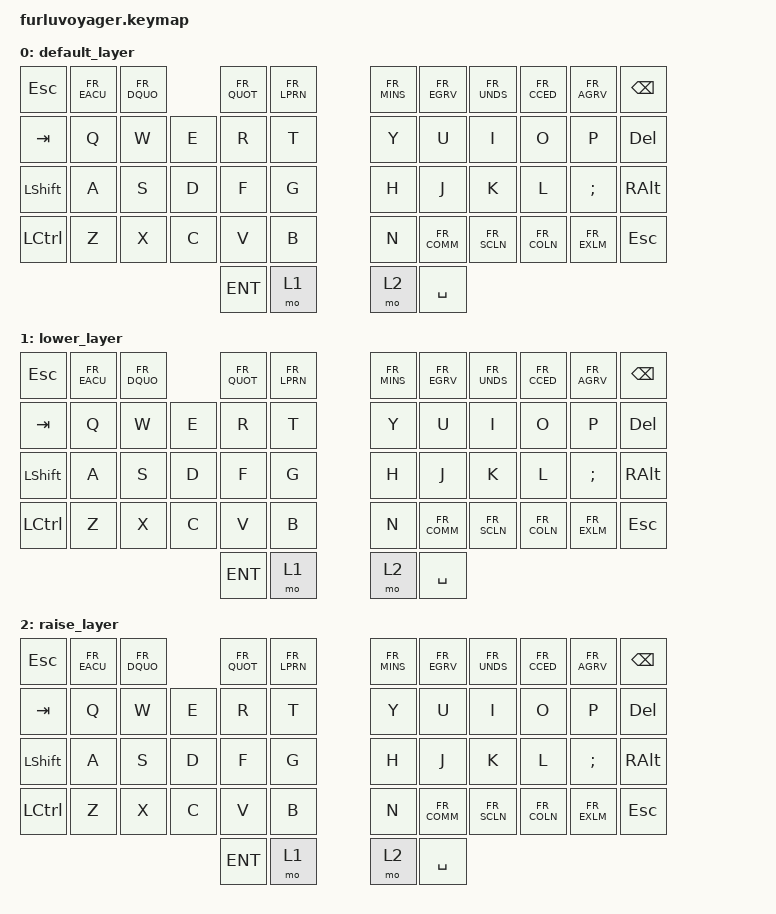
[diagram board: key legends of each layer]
/*
 * Copyright (c) 2020 The ZMK Contributors
 *
 * SPDX-License-Identifier: MIT
 */

#include <behaviors.dtsi>
#include <dt-bindings/zmk/keys.h>
#include <dt-bindings/zmk/bt.h>
#include "keymap_french.h"

/ {
        combos {
                compatible = "zmk,combos";
        };
        keymap {
                compatible = "zmk,keymap";

                default_layer {
// -----------------------------------------------------------------------------------------
// |  TAB |  Q  |  W  |  E  |  R  |  T  |   |  Y  |  U   |  I  |  O  |  P  | BSPC |
// | CTRL |  A  |  S  |  D  |  F  |  G  |   |  H  |  J   |  K  |  L  |  ;  |  '   |
// | SHFT |  Z  |  X  |  C  |  V  |  B  |   |  N  |  M   |  ,  |  .  |  /  | ESC  |
//                    | GUI | LWR | SPC |   | ENT | RSE  | ALT |
                        bindings = <
   &kp ESC  &kp FR_EACU         &kp FR_DQUO     &kp FR_QUOT     &kp FR_LPRN                     &kp FR_MINS     &kp FR_EGRV  &kp FR_UNDS  &kp FR_CCED  &kp FR_AGRV  &kp BSPC                    
   &kp TAB      &kp Q           &kp W  &kp E    &kp R           &kp T                           &kp Y           &kp U        &kp I        &kp O        &kp P        &kp DEL
   &kp LSHIFT   &kp A           &kp S  &kp D    &kp F           &kp G                           &kp H           &kp J        &kp K        &kp L        &kp SEMI     &kp RALT
   &kp LCTRL    &kp Z           &kp X  &kp C    &kp V           &kp B                           &kp N           &kp FR_COMM  &kp FR_SCLN  &kp FR_COLN  &kp FR_EXLM  &kp ESC
                                                &kp ENT         &mo 1                           &mo 2           &kp SPACE
                        >;
                };
                lower_layer {
// -----------------------------------------------------------------------------------------
// |  TAB |  1  |  2  |  3  |  4  |  5  |   |  6  |  7  |  8  |  9  |  0  | BSPC |
// | BTCLR| BT1 | BT2 | BT3 | BT4 | BT5 |   | LFT | DWN |  UP | RGT |     |      |
// | SHFT |     |     |     |     |     |   |     |     |     |     |     |      |
//                    | GUI |     | SPC |   | ENT |     | ALT |
                        bindings = <
   &kp ESC  &kp FR_EACU         &kp FR_DQUO     &kp FR_QUOT     &kp FR_LPRN                     &kp FR_MINS     &kp FR_EGRV  &kp FR_UNDS  &kp FR_CCED  &kp FR_AGRV  &kp BSPC                    
   &kp TAB      &kp Q           &kp W  &kp E    &kp R           &kp T                           &kp Y           &kp U        &kp I        &kp O        &kp P        &kp DEL
   &kp LSHIFT   &kp A           &kp S  &kp D    &kp F           &kp G                           &kp H           &kp J        &kp K        &kp L        &kp SEMI     &kp RALT
   &kp LCTRL    &kp Z           &kp X  &kp C    &kp V           &kp B                           &kp N           &kp FR_COMM  &kp FR_SCLN  &kp FR_COLN  &kp FR_EXLM  &kp ESC
                                                &kp ENT         &mo 1                           &mo 2           &kp SPACE
                        >;
                };

                raise_layer {
// -----------------------------------------------------------------------------------------
// |  TAB |  !  |  @  |  #  |  $  |  %  |   |  ^  |  &  |  *  |  (  |  )  | BSPC |
// | CTRL |     |     |     |     |     |   |  -  |  =  |  [  |  ]  |  \  |  `   |
// | SHFT |     |     |     |     |     |   |  _  |  +  |  {  |  }  | "|" |  ~   |
//                    | GUI |     | SPC |   | ENT |     | ALT |
                        bindings = <
   &kp ESC  &kp FR_EACU         &kp FR_DQUO     &kp FR_QUOT     &kp FR_LPRN                     &kp FR_MINS     &kp FR_EGRV  &kp FR_UNDS  &kp FR_CCED  &kp FR_AGRV  &kp BSPC                    
   &kp TAB      &kp Q           &kp W  &kp E    &kp R           &kp T                           &kp Y           &kp U        &kp I        &kp O        &kp P        &kp DEL
   &kp LSHIFT   &kp A           &kp S  &kp D    &kp F           &kp G                           &kp H           &kp J        &kp K        &kp L        &kp SEMI     &kp RALT
   &kp LCTRL    &kp Z           &kp X  &kp C    &kp V           &kp B                           &kp N           &kp FR_COMM  &kp FR_SCLN  &kp FR_COLN  &kp FR_EXLM  &kp ESC
                                                &kp ENT         &mo 1                           &mo 2           &kp SPACE
                        >;
                };      
        };
        conditional_layers {
                compatible = "zmk,conditional-layers";
                Layer3 {
                         if-layers = <1 2>;
                        then-layer = <3>;
                };
        };
};
